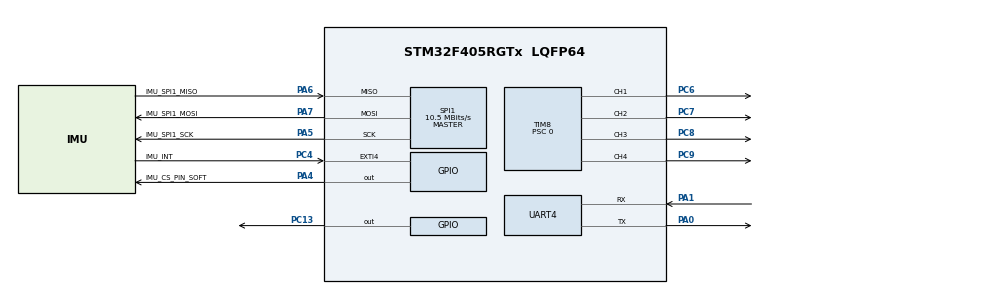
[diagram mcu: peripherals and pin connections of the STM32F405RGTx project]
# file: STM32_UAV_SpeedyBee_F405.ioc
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ADC1.Channel-1\#ChannelRegularConversion=ADC_CHANNEL_TEMPSENSOR
ADC1.NbrOfConversion=1
ADC1.NbrOfConversionFlag=1
ADC1.Rank-1\#ChannelRegularConversion=1
ADC1.SamplingTime-1\#ChannelRegularConversion=ADC_SAMPLETIME_480CYCLES
ADC1.master=1
Dma.ADC1.2.Direction=DMA_PERIPH_TO_MEMORY
Dma.ADC1.2.FIFOMode=DMA_FIFOMODE_DISABLE
Dma.ADC1.2.Instance=DMA2_Stream4
Dma.ADC1.2.MemDataAlignment=DMA_MDATAALIGN_HALFWORD
Dma.ADC1.2.MemInc=DMA_MINC_ENABLE
Dma.ADC1.2.Mode=DMA_CIRCULAR
Dma.ADC1.2.PeriphDataAlignment=DMA_PDATAALIGN_HALFWORD
Dma.ADC1.2.PeriphInc=DMA_PINC_DISABLE
Dma.ADC1.2.Priority=DMA_PRIORITY_LOW
Dma.Request0=SPI1_RX
Dma.Request1=SPI1_TX
Dma.Request2=ADC1
Dma.Request3=TIM8_CH1/CH2/CH3
Dma.Request4=TIM8_CH4/TRIG/COM
Dma.SPI1_RX.0.Direction=DMA_PERIPH_TO_MEMORY
Dma.SPI1_RX.0.FIFOMode=DMA_FIFOMODE_DISABLE
Dma.SPI1_RX.0.Instance=DMA2_Stream0
Dma.SPI1_RX.0.MemDataAlignment=DMA_MDATAALIGN_BYTE
Dma.SPI1_RX.0.MemInc=DMA_MINC_ENABLE
Dma.SPI1_RX.0.Mode=DMA_CIRCULAR
Dma.SPI1_RX.0.PeriphDataAlignment=DMA_PDATAALIGN_BYTE
Dma.SPI1_RX.0.PeriphInc=DMA_PINC_DISABLE
Dma.SPI1_RX.0.Priority=DMA_PRIORITY_VERY_HIGH
Dma.SPI1_TX.1.Direction=DMA_MEMORY_TO_PERIPH
Dma.SPI1_TX.1.FIFOMode=DMA_FIFOMODE_DISABLE
Dma.SPI1_TX.1.Instance=DMA2_Stream5
Dma.SPI1_TX.1.MemDataAlignment=DMA_MDATAALIGN_BYTE
Dma.SPI1_TX.1.MemInc=DMA_MINC_ENABLE
Dma.SPI1_TX.1.Mode=DMA_CIRCULAR
Dma.SPI1_TX.1.PeriphDataAlignment=DMA_PDATAALIGN_BYTE
Dma.SPI1_TX.1.PeriphInc=DMA_PINC_DISABLE
Dma.SPI1_TX.1.Priority=DMA_PRIORITY_HIGH
Dma.TIM8_CH1/CH2/CH3.3.Direction=DMA_PERIPH_TO_MEMORY
Dma.TIM8_CH1/CH2/CH3.3.FIFOMode=DMA_FIFOMODE_DISABLE
Dma.TIM8_CH1/CH2/CH3.3.Instance=DMA2_Stream2
Dma.TIM8_CH1/CH2/CH3.3.MemDataAlignment=DMA_MDATAALIGN_HALFWORD
Dma.TIM8_CH1/CH2/CH3.3.MemInc=DMA_MINC_ENABLE
Dma.TIM8_CH1/CH2/CH3.3.Mode=DMA_NORMAL
Dma.TIM8_CH1/CH2/CH3.3.PeriphDataAlignment=DMA_PDATAALIGN_HALFWORD
Dma.TIM8_CH1/CH2/CH3.3.PeriphInc=DMA_PINC_DISABLE
Dma.TIM8_CH1/CH2/CH3.3.Priority=DMA_PRIORITY_HIGH
Dma.TIM8_CH4/TRIG/COM.4.Direction=DMA_PERIPH_TO_MEMORY
Dma.TIM8_CH4/TRIG/COM.4.FIFOMode=DMA_FIFOMODE_DISABLE
Dma.TIM8_CH4/TRIG/COM.4.Instance=DMA2_Stream7
Dma.TIM8_CH4/TRIG/COM.4.MemDataAlignment=DMA_MDATAALIGN_HALFWORD
Dma.TIM8_CH4/TRIG/COM.4.MemInc=DMA_MINC_ENABLE
Dma.TIM8_CH4/TRIG/COM.4.Mode=DMA_NORMAL
Dma.TIM8_CH4/TRIG/COM.4.PeriphDataAlignment=DMA_PDATAALIGN_HALFWORD
Dma.TIM8_CH4/TRIG/COM.4.PeriphInc=DMA_PINC_DISABLE
Dma.TIM8_CH4/TRIG/COM.4.Priority=DMA_PRIORITY_HIGH
FREERTOS.Tasks01=IMU_Task,48,1024,Start_IMU_Task,Default,NULL,Dynamic,NULL,NULL
FREERTOS.configTICK_RATE_HZ=1000
Mcu.Family=STM32F4
Mcu.Name=STM32F405RGTx
Mcu.Package=LQFP64
NVIC.ADC_IRQn=true\:5\:0\:false\:false\:true\:true\:true\:true\:true
NVIC.DMA2_Stream0_IRQn=true\:5\:0\:false\:false\:true\:true\:false\:true\:true
NVIC.DMA2_Stream2_IRQn=true\:5\:0\:false\:false\:true\:true\:false\:true\:true
NVIC.DMA2_Stream4_IRQn=true\:5\:0\:false\:false\:true\:true\:false\:true\:true
NVIC.DMA2_Stream5_IRQn=true\:5\:0\:false\:false\:true\:false\:false\:true\:true
NVIC.DMA2_Stream7_IRQn=true\:5\:0\:false\:false\:true\:true\:false\:true\:true
NVIC.EXTI4_IRQn=true\:5\:0\:false\:false\:true\:true\:true\:true\:true
NVIC.PriorityGroup=NVIC_PRIORITYGROUP_4
NVIC.SPI1_IRQn=true\:5\:0\:false\:false\:true\:true\:true\:true\:true
NVIC.TIM4_IRQn=true\:15\:0\:false\:false\:true\:false\:false\:true\:true
NVIC.TimeBase=TIM4_IRQn
NVIC.TimeBaseIP=TIM4
PA0-WKUP.Mode=Asynchronous
PA0-WKUP.Signal=UART4_TX
PA1.Mode=Asynchronous
PA1.Signal=UART4_RX
PA4.GPIO_Label=IMU_CS_PIN_SOFT
PA4.GPIO_Speed=GPIO_SPEED_FREQ_MEDIUM
PA4.Signal=GPIO_Output
PA5.GPIO_Label=IMU_SPI1_SCK
PA5.Mode=Full_Duplex_Master
PA5.Signal=SPI1_SCK
PA6.GPIO_Label=IMU_SPI1_MISO
PA6.Mode=Full_Duplex_Master
PA6.Signal=SPI1_MISO
PA7.GPIO_Label=IMU_SPI1_MOSI
PA7.Mode=Full_Duplex_Master
PA7.Signal=SPI1_MOSI
PC13-ANTI_TAMP.Signal=GPIO_Output
PC4.GPIO_Label=IMU_INT
PC4.Signal=GPXTI4
PC6.Signal=S_TIM8_CH1
PC7.Signal=S_TIM8_CH2
PC8.Signal=S_TIM8_CH3
PC9.Signal=S_TIM8_CH4
PH0-OSC_IN.Mode=HSE-External-Oscillator
PH0-OSC_IN.Signal=RCC_OSC_IN
PH1-OSC_OUT.Mode=HSE-External-Oscillator
PH1-OSC_OUT.Signal=RCC_OSC_OUT
ProjectManager.HeapSize=0x200
ProjectManager.StackSize=0x400
ProjectManager.TargetToolchain=STM32CubeIDE
RCC.48MHZClocksFreq_Value=84000000
RCC.AHBFreq_Value=168000000
RCC.APB1CLKDivider=RCC_HCLK_DIV4
RCC.APB1Freq_Value=42000000
RCC.APB1TimFreq_Value=84000000
RCC.APB2CLKDivider=RCC_HCLK_DIV2
RCC.APB2Freq_Value=84000000
RCC.APB2TimFreq_Value=168000000
RCC.CortexFreq_Value=168000000
RCC.HCLKFreq_Value=168000000
RCC.HSE_VALUE=8000000
RCC.HSI_VALUE=16000000
RCC.LSE_VALUE=32768
RCC.PLLM=4
RCC.PLLN=168
RCC.PLLSourceVirtual=RCC_PLLSOURCE_HSE
RCC.SYSCLKFreq_VALUE=168000000
RCC.SYSCLKSource=RCC_SYSCLKSOURCE_PLLCLK
RCC.VCOOutputFreq_Value=336000000
SH.S_TIM8_CH1.0=TIM8_CH1,PWM Generation1 CH1
SH.S_TIM8_CH2.0=TIM8_CH2,PWM Generation2 CH2
SH.S_TIM8_CH3.0=TIM8_CH3,PWM Generation3 CH3
SH.S_TIM8_CH4.0=TIM8_CH4,PWM Generation4 CH4
SPI1.BaudRatePrescaler=SPI_BAUDRATEPRESCALER_8
SPI1.CLKPhase=SPI_PHASE_1EDGE
SPI1.CLKPolarity=SPI_POLARITY_LOW
SPI1.CalculateBaudRate=10.5 MBits/s
SPI1.Direction=SPI_DIRECTION_2LINES
SPI1.Mode=SPI_MODE_MASTER
SPI1.VirtualType=VM_MASTER
TIM5.Prescaler=83
TIM8.AutoReloadPreload=TIM_AUTORELOAD_PRELOAD_ENABLE
TIM8.Channel-PWM\ Generation1\ CH1=TIM_CHANNEL_1
TIM8.Channel-PWM\ Generation2\ CH2=TIM_CHANNEL_2
TIM8.Channel-PWM\ Generation3\ CH3=TIM_CHANNEL_3
TIM8.Channel-PWM\ Generation4\ CH4=TIM_CHANNEL_4
TIM8.Prescaler=0
UART4.VirtualMode=Asynchronous
VP_ADC1_TempSens_Input.Mode=IN-TempSens
VP_FREERTOS_VS_CMSIS_V2.Mode=CMSIS_V2
VP_SYS_VS_tim4.Mode=TIM4
VP_TIM5_VS_ClockSourceINT.Mode=Internal
VP_TIM8_VS_ClockSourceINT.Mode=Internal
board=custom

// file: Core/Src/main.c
/* USER CODE BEGIN Header */
/**
 ******************************************************************************
 * @file           : main.c
 * @brief          : Main program body
 ******************************************************************************
 * @attention
 *
 * Copyright (c) 2025 STMicroelectronics.
 * All rights reserved.
 *
 * This software is licensed under terms that can be found in the LICENSE file
 * in the root directory of this software component.
 * If no LICENSE file comes with this software, it is provided AS-IS.
 *
 ******************************************************************************
 */
/* USER CODE END Header */
#include "main.h"
#include "adc.h"
#include "cmsis_os.h"
#include "dma.h"
#include "gpio.h"
#include "spi.h"
#include "tim.h"
#include "usart.h"

/* USER CODE BEGIN PV */
IMU_ACQ_Config_t imu_acq_config_ = {
    .hspi          = &hspi1,
    .cs_port       = IMU_CS_PIN_SOFT_GPIO_Port,
    .cs_pin        = IMU_CS_PIN_SOFT_Pin,
    .int1_gpio_pin = IMU_INT_Pin,
    .htim_us       = &htim5,
};
/* USER CODE END PV */

void SystemClock_Config(void);
void MX_FREERTOS_Init(void);

int
main(void)
{

    /* MCU Configuration--------------------------------------------------------*/

    /* Reset of all peripherals, Initializes the Flash interface and the Systick. */
    HAL_Init();

    /* Configure the system clock */
    SystemClock_Config();

    /* Initialize all configured peripherals */
    MX_GPIO_Init();
    MX_DMA_Init();
    MX_SPI1_Init();
    MX_ADC1_Init();
    MX_UART4_Init();
    MX_TIM8_Init();
    MX_TIM5_Init();

    /* Init scheduler */
    osKernelInitialize(); /* Call init function for freertos objects (in cmsis_os2.c) */
    MX_FREERTOS_Init();

    /* Start scheduler */
    osKernelStart();

    /* We should never get here as control is now taken by the scheduler */

    /* Infinite loop */
    while (1) {

    }
}

void
SystemClock_Config(void)
{
    RCC_OscInitTypeDef RCC_OscInitStruct = {0};
    RCC_ClkInitTypeDef RCC_ClkInitStruct = {0};

    /** Configure the main internal regulator output voltage
     */
    __HAL_RCC_PWR_CLK_ENABLE();
    __HAL_PWR_VOLTAGESCALING_CONFIG(PWR_REGULATOR_VOLTAGE_SCALE1);

    /** Initializes the RCC Oscillators according to the specified parameters
     * in the RCC_OscInitTypeDef structure.
     */
    RCC_OscInitStruct.OscillatorType = RCC_OSCILLATORTYPE_HSE;
    RCC_OscInitStruct.HSEState       = RCC_HSE_ON;
    RCC_OscInitStruct.PLL.PLLState   = RCC_PLL_ON;
    RCC_OscInitStruct.PLL.PLLSource  = RCC_PLLSOURCE_HSE;
    RCC_OscInitStruct.PLL.PLLM       = 4;
    RCC_OscInitStruct.PLL.PLLN       = 168;
    RCC_OscInitStruct.PLL.PLLP       = RCC_PLLP_DIV2;
    RCC_OscInitStruct.PLL.PLLQ       = 4;
    if (HAL_RCC_OscConfig(&RCC_OscInitStruct) != HAL_OK) {
        Error_Handler();
    }

    /** Initializes the CPU, AHB and APB buses clocks
     */
    RCC_ClkInitStruct.ClockType =
        RCC_CLOCKTYPE_HCLK | RCC_CLOCKTYPE_SYSCLK | RCC_CLOCKTYPE_PCLK1 | RCC_CLOCKTYPE_PCLK2;
    RCC_ClkInitStruct.SYSCLKSource   = RCC_SYSCLKSOURCE_PLLCLK;
    RCC_ClkInitStruct.AHBCLKDivider  = RCC_SYSCLK_DIV1;
    RCC_ClkInitStruct.APB1CLKDivider = RCC_HCLK_DIV4;
    RCC_ClkInitStruct.APB2CLKDivider = RCC_HCLK_DIV2;

    if (HAL_RCC_ClockConfig(&RCC_ClkInitStruct, FLASH_LATENCY_5) != HAL_OK) {
        Error_Handler();
    }
}

void
HAL_TIM_PeriodElapsedCallback(TIM_HandleTypeDef *htim)
{
    if (htim->Instance == TIM4) {
        HAL_IncTick();
    }
}

void
Error_Handler(void)
{
    __disable_irq();
    while (1) {
    }
}

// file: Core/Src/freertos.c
/* USER CODE BEGIN Header */
/* USER CODE END Header */

#include "FreeRTOS.h"
#include "cmsis_os.h"
#include "main.h"
#include "task.h"

/* USER CODE BEGIN Includes */
#include "dshot_task.h" // DshotMotorControlTask(void *argument);
#include "realtime/imu_acquisition/imu_acq.h"

/* USER CODE END Includes */

/* USER CODE BEGIN Variables */
static TaskHandle_t imu_task_handle_ = NULL; // Native FreeRTOS TaskHandle, the task itself is the same task

/* USER CODE END Variables */
/* Definitions for IMU_Task */
osThreadId_t         IMU_TaskHandle;
const osThreadAttr_t IMU_Task_attributes = {
    .name       = "IMU_Task",
    .stack_size = 1024 * 4,
    .priority   = (osPriority_t)osPriorityRealtime,
};

/* USER CODE BEGIN FunctionPrototypes */
static void IMU_Task_NotifyFromISR(void);

/* USER CODE END FunctionPrototypes */

void Start_IMU_Task(void *argument);

void MX_FREERTOS_Init(void); /* (MISRA C 2004 rule 8.1) */

void
MX_FREERTOS_Init(void)
{

    /* Create the thread(s) */
    /* creation of IMU_Task */
    IMU_TaskHandle = osThreadNew(Start_IMU_Task, NULL, &IMU_Task_attributes);

    /* USER CODE BEGIN RTOS_THREADS */
    /* add threads, ... */
    // dshotMotorTaskHandle = osThreadNew(DshotMotorControlTask, NULL, &dshotMotorTask_attributes);
    /* USER CODE END RTOS_THREADS */

}

void
Start_IMU_Task(void *argument)
{
    /* USER CODE BEGIN Start_IMU_Task */
    (void)argument;

    // Handle of 'IMU_Task'
    imu_task_handle_ = xTaskGetCurrentTaskHandle();

    // IMU Init
    if (!IMU_ACQ_Init(&imu_acq_config_)) {
        for (;;) {
            vTaskDelay(pdMS_TO_TICKS(1000)); // Sleep for 1 sec
        }
    }

    IMU_Sample_t _imu_sample = {0};

    /* Infinite loop */
    for (;;) {
        // Sleep and wait until an ISR wakes this 'IMU_Task'
        // Or "if nobody has notified me, BLOCK this task forever" so processor can run other tasks
        ulTaskNotifyTake(pdTRUE, portMAX_DELAY);

        // Someone just called 'IMU_Task'
        // Drain everything before sleeping again
        for (;;) {
            IMU_ACQ_ProcessResult_t result = IMU_ACQ_ProcessNextBatch(&_imu_sample);

            if (result == IMU_ACQ_PROCESS_NONE) {
                break;
            }

            if (result == IMU_ACQ_PROCESS_PUBLISHED) {
                // Valid 4KHz output here
            }
        }
    }
    /* USER CODE END Start_IMU_Task */
}

/* USER CODE BEGIN Application */
static void
IMU_Task_NotifyFromISR(void)
{
    if (imu_task_handle_ == NULL) {
        return;
    }

    BaseType_t high_priority_task_woken = pdFALSE;

    vTaskNotifyGiveFromISR(imu_task_handle_, &high_priority_task_woken);

    portYIELD_FROM_ISR(high_priority_task_woken);
}

void
HAL_GPIO_EXTI_Callback(uint16_t gpioPin)
{
    IMU_ACQ_EXTI_Result_t result = IMU_ACQ_On_EXTI(gpioPin);
    // if result == IMU_ACQ_EXTI_DMA_STARTED, DON'T wake 'IMU_Task' because it must wait for DMA complete ISR

    if (result == IMU_ACQ_EXTI_RECOVERY_REQUESTED) {
        IMU_Task_NotifyFromISR();
    }
}

void
HAL_SPI_TxRxCpltCallback(SPI_HandleTypeDef *hspi)
{
    if (IMU_ACQ_On_SPI_DMA_Complete(hspi)) {
        IMU_Task_NotifyFromISR();
    }
}

void
HAL_SPI_ErrorCallback(SPI_HandleTypeDef *hspi)
{
    if (IMU_ACQ_On_SPI_DMA_Error(hspi)) {
        IMU_Task_NotifyFromISR();
    }
}
/* USER CODE END Application */
